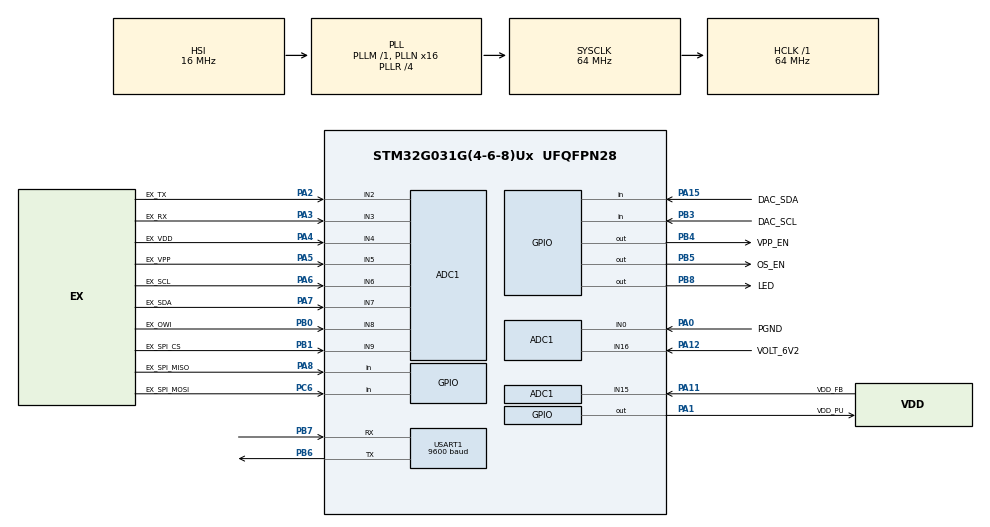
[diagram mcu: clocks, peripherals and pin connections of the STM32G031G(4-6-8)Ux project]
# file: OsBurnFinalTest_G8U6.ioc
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ADC1.ContinuousConvMode=DISABLE
ADC1.EOCSelection=ADC_EOC_SEQ_CONV
ADC1.NbrOfConversion=1
ADC1.NbrOfConversionFlag=0
ADC1.OversamplingMode=ENABLE
ADC1.Ratio=ADC_OVERSAMPLING_RATIO_256
ADC1.RightBitShift=ADC_RIGHTBITSHIFT_4
ADC1.SamplingTimeCommon1=ADC_SAMPLETIME_160CYCLES_5
ADC1.SelectedChannel=ADC_CHANNEL_0|ADC_CHANNEL_2|ADC_CHANNEL_3|ADC_CHANNEL_4|ADC_CHANNEL_5|ADC_CHANNEL_6|ADC_CHANNEL_7|ADC_CHANNEL_8|ADC_CHANNEL_9|ADC_CHANNEL_15|ADC_CHANNEL_16
ADC1.Sequencer=NOT_FULLY_CONFIGURABLE
ADC1.master=1
Dma.ADC1.0.Direction=DMA_PERIPH_TO_MEMORY
Dma.ADC1.0.EventEnable=DISABLE
Dma.ADC1.0.Instance=DMA1_Channel1
Dma.ADC1.0.MemDataAlignment=DMA_MDATAALIGN_HALFWORD
Dma.ADC1.0.MemInc=DMA_MINC_ENABLE
Dma.ADC1.0.Mode=DMA_NORMAL
Dma.ADC1.0.PeriphDataAlignment=DMA_PDATAALIGN_HALFWORD
Dma.ADC1.0.PeriphInc=DMA_PINC_DISABLE
Dma.ADC1.0.Polarity=HAL_DMAMUX_REQ_GEN_RISING
Dma.ADC1.0.Priority=DMA_PRIORITY_LOW
Dma.ADC1.0.RequestNumber=1
Dma.ADC1.0.SignalID=NONE
Dma.ADC1.0.SyncEnable=DISABLE
Dma.ADC1.0.SyncPolarity=HAL_DMAMUX_SYNC_NO_EVENT
Dma.ADC1.0.SyncRequestNumber=1
Dma.ADC1.0.SyncSignalID=NONE
Dma.Request0=ADC1
FREERTOS.Tasks01=defaultTask,0,128,StartDefaultTask,Default,NULL,Dynamic,NULL,NULL;myTask02,-3,128,ModbusTask,Default,NULL,Dynamic,NULL,NULL
FREERTOS.configUSE_NEWLIB_REENTRANT=1
IWDG.Prescaler=IWDG_PRESCALER_32
IWDG.Reload=1000
IWDG.Window=1000
Mcu.Family=STM32G0
Mcu.Name=STM32G031G(4-6-8)Ux
Mcu.Package=UFQFPN28
NVIC.DMA1_Channel1_IRQn=true\:3\:0\:false\:false\:true\:true\:false\:true\:true
NVIC.TIM14_IRQn=true\:3\:0\:false\:false\:true\:false\:false\:true\:true
NVIC.TIM2_IRQn=true\:3\:0\:false\:false\:true\:true\:true\:true\:true
NVIC.TIM3_IRQn=true\:3\:0\:false\:false\:true\:true\:true\:true\:true
NVIC.TimeBase=TIM14_IRQn
NVIC.TimeBaseIP=TIM14
NVIC.USART1_IRQn=true\:3\:0\:false\:false\:true\:true\:true\:true\:true
PA0.GPIO_Label=PGND
PA0.Mode=IN0
PA0.Signal=ADC1_IN0
PA1.GPIO_Label=VDD_PU
PA1.Signal=GPIO_Output
PA11\ [PA9].GPIO_Label=VDD_FB
PA11\ [PA9].Mode=IN15
PA11\ [PA9].Signal=ADC1_IN15
PA12\ [PA10].GPIO_Label=VOLT_6V2
PA12\ [PA10].Mode=IN16
PA12\ [PA10].Signal=ADC1_IN16
PA13.Mode=Serial_Wire
PA13.Signal=SYS_SWDIO
PA14-BOOT0.Mode=Serial_Wire
PA14-BOOT0.Signal=SYS_SWCLK
PA15.GPIO_Label=DAC_SDA
PA15.Signal=GPIO_Input
PA2.GPIO_Label=EX_TX
PA2.Mode=IN2
PA2.Signal=ADC1_IN2
PA3.GPIO_Label=EX_RX
PA3.Mode=IN3
PA3.Signal=ADC1_IN3
PA4.GPIO_Label=EX_VDD
PA4.Mode=IN4
PA4.Signal=ADC1_IN4
PA5.GPIO_Label=EX_VPP
PA5.Mode=IN5
PA5.Signal=ADC1_IN5
PA6.GPIO_Label=EX_SCL
PA6.Mode=IN6
PA6.Signal=ADC1_IN6
PA7.GPIO_Label=EX_SDA
PA7.Mode=IN7
PA7.Signal=ADC1_IN7
PA8.GPIO_Label=EX_SPI_MISO
PA8.Signal=GPIO_Input
PB0.GPIO_Label=EX_OWI
PB0.Mode=IN8
PB0.Signal=ADC1_IN8
PB1.GPIO_Label=EX_SPI_CS
PB1.Mode=IN9
PB1.Signal=ADC1_IN9
PB3.GPIO_Label=DAC_SCL
PB3.Signal=GPIO_Input
PB4.GPIO_Label=VPP_EN
PB4.GPIO_ModeDefaultOutputPP=GPIO_MODE_OUTPUT_OD
PB4.GPIO_PuPd=GPIO_NOPULL
PB4.PinState=GPIO_PIN_RESET
PB4.Signal=GPIO_Output
PB5.GPIO_Label=OS_EN
PB5.GPIO_ModeDefaultOutputPP=GPIO_MODE_OUTPUT_OD
PB5.GPIO_PuPd=GPIO_NOPULL
PB5.PinState=GPIO_PIN_RESET
PB5.Signal=GPIO_Output
PB6.Mode=Asynchronous
PB6.Signal=USART1_TX
PB7.Mode=Asynchronous
PB7.Signal=USART1_RX
PB8.GPIO_Label=LED
PB8.PinState=GPIO_PIN_SET
PB8.Signal=GPIO_Output
PC6.GPIO_Label=EX_SPI_MOSI
PC6.Signal=GPIO_Input
ProjectManager.HeapSize=0x200
ProjectManager.StackSize=0x800
ProjectManager.TargetToolchain=STM32CubeIDE
RCC.ADCFreq_Value=64000000
RCC.AHBFreq_Value=64000000
RCC.CortexFreq_Value=64000000
RCC.EXTERNAL_CLOCK_VALUE=12288000
RCC.HCLKFreq_Value=64000000
RCC.HSE_VALUE=8000000
RCC.HSI_VALUE=16000000
RCC.LSE_VALUE=32768
RCC.PLLN=16
RCC.PLLR=RCC_PLLR_DIV4
RCC.SYSCLKFreq_VALUE=64000000
RCC.SYSCLKSource=RCC_SYSCLKSOURCE_PLLCLK
RCC.TIM1CLockSelectionVirtual=RCC_TIM1CLKSOURCE_PLL
RCC.VCOOutputFreq_Value=256000000
TIM1.Period=0xFFFF
TIM1.Prescaler=72-1
TIM2.Channel-Input_Capture1_from_TI1_REMAP_TIM2=TIM_CHANNEL_1
TIM2.Prescaler=64-1
USART1.BaudRate=9600
USART1.VirtualMode-Asynchronous=VM_ASYNC
VP_FREERTOS_VS_CMSIS_V1.Mode=CMSIS_V1
VP_IWDG_VS_IWDG.Mode=IWDG_Activate
VP_SYS_VS_tim14.Mode=TIM14
VP_TIM1_VS_ClockSourceINT.Mode=Internal
VP_TIM2_VS_ClockSourceINT.Mode=Internal
VP_TIM2_VS_NoInput1.Mode=Input_Capture1_from_TI1_REMAP_TIM2
VP_TIM3_VS_ClockSourceINT.Mode=Internal
board=custom

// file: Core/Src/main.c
/* USER CODE BEGIN Header */
/**
  ******************************************************************************
  * @file           : main.c
  * @brief          : Main program body
  ******************************************************************************
  * @attention
  *
  * Copyright (c) 2025 STMicroelectronics.
  * All rights reserved.
  *
  * This software is licensed under terms that can be found in the LICENSE file
  * in the root directory of this software component.
  * If no LICENSE file comes with this software, it is provided AS-IS.
  *
  ******************************************************************************
  */
/* USER CODE END Header */
#include "main.h"
#include "cmsis_os.h"
#include "adc.h"
#include "dma.h"
#include "iwdg.h"
#include "tim.h"
#include "usart.h"
#include "gpio.h"

/* USER CODE BEGIN Includes */
#include <math.h>

#include "MCP4725.h"
#include "Sensor2200.h"
#include "WF282.h"
/* USER CODE END Includes */

void SystemClock_Config(void);
void MX_FREERTOS_Init(void);
/* USER CODE BEGIN PFP */
uint8_t b2[4];
void test_only(void)
{
   volatile uint8_t b[18];

    b[0] = 0x11;
    b[1] = 0x22;
    b[2] = 0x33;
    b[3] = 0x44;
    b2[0] = b[0];
    b2[1] = b[1];
    b2[2] = b[2];
    b2[3] = b[3];
    // 断点打在这里
    __NOP();
}
/* USER CODE END PFP */

/* USER CODE BEGIN 0 */
uint16_t Tim_Count;
/* USER CODE END 0 */

int main(void)
{

  /* MCU Configuration--------------------------------------------------------*/

  /* Reset of all peripherals, Initializes the Flash interface and the Systick. */
  HAL_Init();

  /* USER CODE BEGIN Init */
    //test();
  /* USER CODE END Init */

  /* Configure the system clock */
  SystemClock_Config();

  /* Initialize all configured peripherals */
  MX_GPIO_Init();
  MX_DMA_Init();
  MX_TIM3_Init();
  MX_TIM1_Init();
  MX_TIM2_Init();
  //MX_IWDG_Init();
  MX_ADC1_Init();
  MX_USART1_UART_Init();
  /* USER CODE BEGIN 2 */
    SetIoStatus(0, 0, 0);
    //HAL_IWDG_Refresh(&hiwdg);
    if (HAL_ADCEx_Calibration_Start(&hadc1) != HAL_OK) {
        Error_Handler();
    }
    if (HAL_TIM_Base_Start(&htim1) != HAL_OK) {
        Error_Handler();
    }

  /* USER CODE END 2 */

  /* Call init function for freertos objects (in cmsis_os2.c) */
  MX_FREERTOS_Init();

  /* Start scheduler */
  osKernelStart();

  /* We should never get here as control is now taken by the scheduler */

  /* Infinite loop */
    while (1) {

    }
}

void SystemClock_Config(void)
{
  RCC_OscInitTypeDef RCC_OscInitStruct = {0};
  RCC_ClkInitTypeDef RCC_ClkInitStruct = {0};

  /** Configure the main internal regulator output voltage
  */
  HAL_PWREx_ControlVoltageScaling(PWR_REGULATOR_VOLTAGE_SCALE1);

  /** Initializes the RCC Oscillators according to the specified parameters
  * in the RCC_OscInitTypeDef structure.
  */
  RCC_OscInitStruct.OscillatorType = RCC_OSCILLATORTYPE_HSI|RCC_OSCILLATORTYPE_LSI;
  RCC_OscInitStruct.HSIState = RCC_HSI_ON;
  RCC_OscInitStruct.HSIDiv = RCC_HSI_DIV1;
  RCC_OscInitStruct.HSICalibrationValue = RCC_HSICALIBRATION_DEFAULT;
  RCC_OscInitStruct.LSIState = RCC_LSI_ON;
  RCC_OscInitStruct.PLL.PLLState = RCC_PLL_ON;
  RCC_OscInitStruct.PLL.PLLSource = RCC_PLLSOURCE_HSI;
  RCC_OscInitStruct.PLL.PLLM = RCC_PLLM_DIV1;
  RCC_OscInitStruct.PLL.PLLN = 16;
  RCC_OscInitStruct.PLL.PLLP = RCC_PLLP_DIV2;
  RCC_OscInitStruct.PLL.PLLQ = RCC_PLLQ_DIV2;
  RCC_OscInitStruct.PLL.PLLR = RCC_PLLR_DIV4;
  if (HAL_RCC_OscConfig(&RCC_OscInitStruct) != HAL_OK)
  {
    Error_Handler();
  }

  /** Initializes the CPU, AHB and APB buses clocks
  */
  RCC_ClkInitStruct.ClockType = RCC_CLOCKTYPE_HCLK|RCC_CLOCKTYPE_SYSCLK
                              |RCC_CLOCKTYPE_PCLK1;
  RCC_ClkInitStruct.SYSCLKSource = RCC_SYSCLKSOURCE_PLLCLK;
  RCC_ClkInitStruct.AHBCLKDivider = RCC_SYSCLK_DIV1;
  RCC_ClkInitStruct.APB1CLKDivider = RCC_HCLK_DIV1;

  if (HAL_RCC_ClockConfig(&RCC_ClkInitStruct, FLASH_LATENCY_2) != HAL_OK)
  {
    Error_Handler();
  }
}

/* USER CODE BEGIN 4 */
void delay_us(const uint32_t us) {
    if (us == 0) return;
    const uint16_t start = __HAL_TIM_GetCounter(&htim1);
    while ((uint16_t) (__HAL_TIM_GetCounter(&htim1) - start) < us);
}

void SetIoStatus(const uint8_t osOn, const uint8_t vppOn, const uint8_t puOn) {
    HAL_GPIO_WritePin(OS_EN_GPIO_Port,OS_EN_Pin, osOn == 1 ? GPIO_PIN_RESET : GPIO_PIN_SET);
    if (!vppOn && !puOn) {
        HAL_GPIO_WritePin(VPP_EN_GPIO_Port,VPP_EN_Pin, vppOn == 1 ? GPIO_PIN_SET : GPIO_PIN_RESET);
        HAL_GPIO_WritePin(VDD_PU_GPIO_Port, VDD_PU_Pin, puOn == 1 ? GPIO_PIN_SET : GPIO_PIN_RESET);
    } else {
        HAL_GPIO_WritePin(VDD_PU_GPIO_Port, VDD_PU_Pin, puOn == 1 ? GPIO_PIN_SET : GPIO_PIN_RESET);
        HAL_GPIO_WritePin(VPP_EN_GPIO_Port,VPP_EN_Pin, vppOn == 1 ? GPIO_PIN_SET : GPIO_PIN_RESET);
    }
}

/* USER CODE END 4 */

void HAL_TIM_PeriodElapsedCallback(TIM_HandleTypeDef *htim)
{
  if (htim->Instance == TIM14)
  {
    HAL_IncTick();
  }
}

void Error_Handler(void)
{
    __disable_irq();
    while (1) {
    }
}

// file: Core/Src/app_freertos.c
/* USER CODE BEGIN Header */
/**
  ******************************************************************************
  * File Name          : app_freertos.c
  * Description        : Code for freertos applications
  ******************************************************************************
  * @attention
  *
  * Copyright (c) 2025 STMicroelectronics.
  * All rights reserved.
  *
  * This software is licensed under terms that can be found in the LICENSE file
  * in the root directory of this software component.
  * If no LICENSE file comes with this software, it is provided AS-IS.
  *
  ******************************************************************************
  */
/* USER CODE END Header */

#include "FreeRTOS.h"
#include "task.h"
#include "main.h"
#include "cmsis_os.h"

/* USER CODE BEGIN Includes */
#include "usart.h"
#include "stdio.h"
#include "mb.h"
#include "mbutils.h"
#include <string.h>
#include "../User/Inc/CmdHelper.h"
#include "flash.h"
#include "../User/Inc/SoftIIC.h"
#include "tim.h"
#include "iwdg.h"
#include "MCP4725.h"
#include "sensor2200.h"
#include "WF282.h"
/* USER CODE END Includes */

/* USER CODE BEGIN PTD */

#define SLAVE_ADDRESS 1

/* USER CODE END PTD */

/* USER CODE BEGIN PD */
#define REG_INPUT_START 30001
#define SENDBUF_LENS 120
#define REG_HOLDING_START 40001
#define RECVBUF_LENS 64

#define REG_INPUT2_START 20001
//上位机下发的指令缓存
uint16_t recvBuf[RECVBUF_LENS];
//运行缓存，提供给上位机读取
uint16_t sendBuf[SENDBUF_LENS]; //常规指令
/* USER CODE END PD */

osThreadId defaultTaskHandle;
osThreadId myTask02Handle;

void StartDefaultTask(void const * argument);
void ModbusTask(void const * argument);

void MX_FREERTOS_Init(void); /* (MISRA C 2004 rule 8.1) */

void MX_FREERTOS_Init(void) {

  /* Create the thread(s) */
  /* definition and creation of defaultTask */
  osThreadDef(defaultTask, StartDefaultTask, osPriorityNormal, 0, 128);
  defaultTaskHandle = osThreadCreate(osThread(defaultTask), NULL);

  /* definition and creation of myTask02 */
  osThreadDef(myTask02, ModbusTask, osPriorityIdle, 0, 128);
  myTask02Handle = osThreadCreate(osThread(myTask02), NULL);

  /* USER CODE BEGIN RTOS_THREADS */
    /* add threads, ... */
    /* definition and creation of myTask02 */
  /* USER CODE END RTOS_THREADS */

}

void StartDefaultTask(void const * argument)
{
  /* USER CODE BEGIN StartDefaultTask */
    uint8_t i = 0;
    /* Infinite loop */
    for (;;) {
        HAL_IWDG_Refresh(&hiwdg);
        if (i == 1)HAL_GPIO_WritePin(LED_GPIO_Port, LED_Pin, GPIO_PIN_SET);
        else if (i == 6) {
            i = 0;
            HAL_GPIO_WritePin(LED_GPIO_Port, LED_Pin, GPIO_PIN_RESET);
        }
        i++;
        osDelay(500);
    }
  /* USER CODE END StartDefaultTask */
}

void ModbusTask(void const * argument)
{
  /* USER CODE BEGIN ModbusTask */
    //放这里是因为它们都用到了osDelay，必须等rtos初始化完成才能进行
    MCP4725_Init();
    Sensor2200_Init();
    //WF282_Init();
    //WF282_Init_Calib_Param();
    /* Infinite loop */
    eMBInit(MB_RTU, SLAVE_ADDRESS, SLAVE_ADDRESS, 9600, MB_PAR_NONE);
    eMBEnable();
    for (;;) {
        eMBPoll();

        osDelay(1);
    }
  /* USER CODE END ModbusTask */
}

/* USER CODE BEGIN Application */

eMBErrorCode eMBRegInputCB(UCHAR *pucRegBuffer, USHORT usAddress, USHORT usNRegs) {
	eMBErrorCode eStatus = MB_ENOERR;
	int i = 0;
	if ((usAddress/* >=*/== REG_INPUT_START) && (usAddress + usNRegs <= REG_INPUT_START + SENDBUF_LENS)) {
		i = (int) (usAddress - REG_INPUT_START);
		while (usNRegs > 0) {
			*pucRegBuffer++ = (uint8_t) (sendBuf[i] >> 8);
			*pucRegBuffer++ = (uint8_t) (sendBuf[i] & 0xFF);
			i++;
			usNRegs--;
		}
	}
	/*else if ((usAddress >= REG_INPUT2_START) && (usAddress + usNRegs <= REG_INPUT2_START + DATABUF_LENS)) {
	 i = (int) (usAddress - REG_INPUT2_START);
	 while (usNRegs > 0) {
	 *pucRegBuffer++ = (uint8_t) (dataBuf[i] >> 8);
	 *pucRegBuffer++ = (uint8_t) (dataBuf[i] & 0xFF);
	 i++;
	 usNRegs--;
	 }
	 } */else {
		eStatus = MB_ENOREG;
	}
	return eStatus;
}

eMBErrorCode eMBRegHoldingCB(UCHAR *pucRegBuffer, USHORT usAddress, USHORT usNRegs, eMBRegisterMode eMode) {
	eMBErrorCode eStatus = MB_ENOERR;
	int i = 0;
	if ((usAddress /*>=*/== REG_HOLDING_START) && (usAddress + usNRegs <= REG_HOLDING_START + RECVBUF_LENS)) {
		i = (int) (usAddress - REG_HOLDING_START);
		if (eMode == MB_REG_READ) {
			while (usNRegs > 0) {
				*pucRegBuffer++ = (UCHAR) (recvBuf[i] >> 8);
				*pucRegBuffer++ = (UCHAR) (recvBuf[i] & 0xFF);
				i++;
				usNRegs--;
			}
		} else if (eMode == MB_REG_WRITE) {
			while (usNRegs > 0) {
				recvBuf[i] = *pucRegBuffer++ << 8;
				recvBuf[i] |= *pucRegBuffer++;
				i++;
				usNRegs--;
			}
			memset(sendBuf, 0, sizeof(sendBuf));
			Parse(recvBuf, i, sendBuf, SENDBUF_LENS);
		}
	} else {
		eStatus = MB_ENOREG;
	}
	return eStatus;
}

eMBErrorCode eMBRegCoilsCB(UCHAR *pucRegBuffer, USHORT usAddress, USHORT usNCoils, eMBRegisterMode eMode) {
	return MB_ENOERR;
}

eMBErrorCode eMBRegDiscreteCB(UCHAR *pucRegBuffer, USHORT usAddress, USHORT usNDiscrete) {
	return MB_ENOERR;
}
/* USER CODE END Application */
